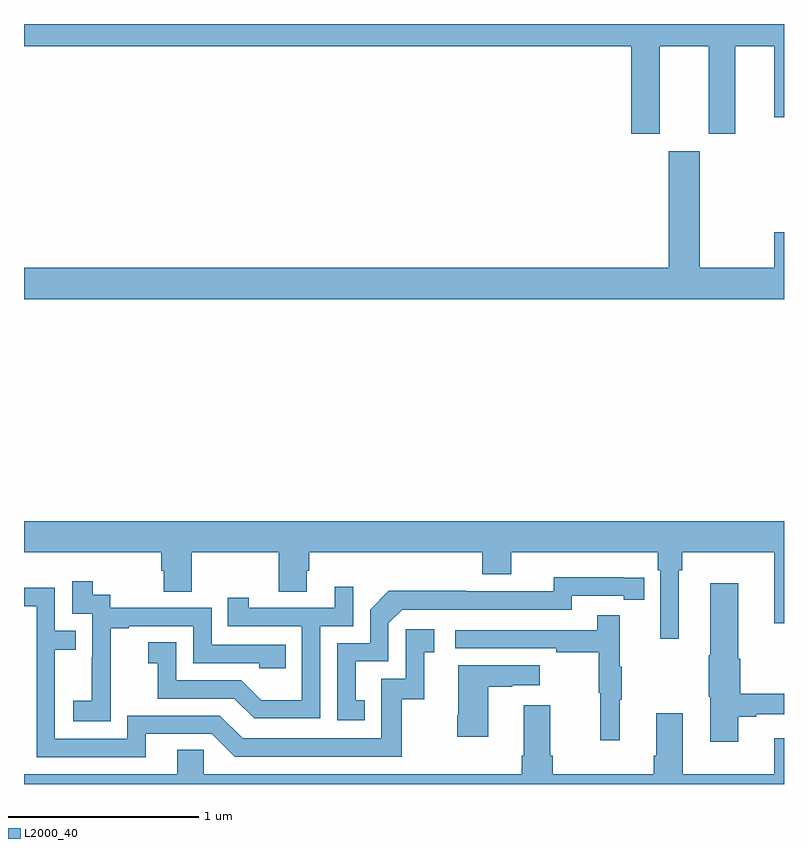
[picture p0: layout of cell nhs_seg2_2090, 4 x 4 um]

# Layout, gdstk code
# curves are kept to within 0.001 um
import gdstk
lib = gdstk.Library(unit=1e-6, precision=1e-09)
def P(c, l, *ps):  # polygons
    for p in ps: c.add(gdstk.Polygon(p, *l))
L2000_40 = (2000, 40)

nhs_seg2_2090 = lib.new_cell('nhs_seg2_2090')
P(nhs_seg2_2090, L2000_40, [(224.347,599.684),(224.603,599.684),(224.603,599.223),(224.743,599.223),(224.743,599.684),(224.948,599.684),(224.948,599.31),(225,599.31),(225,599.8),(221,599.8),(221,599.684),(224.195,599.684),(224.195,599.223),(224.347,599.223)],
  [(225,598.705),(224.948,598.705),(224.948,598.516),(224.557,598.516),(224.557,599.131),(224.393,599.131),(224.393,598.516),(221,598.516),(221,598.352),(225,598.352)],
  [(224.446,596.924),(224.465,596.924),(224.465,597.02),(224.948,597.02),(224.948,596.646),(225,596.646),(225,597.184),(221,597.184),(221,597.02),(221.723,597.02),(221.723,596.922),(221.735,596.922),(221.735,596.812),(221.883,596.812),(221.883,597.02),(222.34,597.02),(222.34,596.812),(222.487,596.812),(222.487,596.922),(222.5,596.922),(222.5,597.02),(223.412,597.02),(223.412,596.903),(223.564,596.903),(223.564,597.02),(224.336,597.02),(224.336,596.924),(224.349,596.924),(224.349,596.565),(224.446,596.565)],
  [(222.794,596.241),(222.745,596.241),(222.745,596.445),(222.918,596.445),(222.918,596.646),(222.99,596.718),(223.884,596.718),(223.884,596.79),(224.156,596.79),(224.156,596.77),(224.264,596.77),(224.264,596.886),(223.788,596.887),(223.788,596.814),(223.328,596.814),(223.328,596.816),(222.92,596.816),(222.822,596.718),(222.822,596.541),(222.648,596.541),(222.648,596.136),(222.794,596.136)],
  [(221.457,596.335),(221.456,596.335),(221.456,596.619),(221.551,596.619),(221.551,596.631),(221.892,596.631),(221.892,596.436),(222.237,596.436),(222.237,596.409),(222.377,596.409),(222.377,596.532),(221.988,596.532),(221.988,596.727),(221.454,596.727),(221.454,596.796),(221.362,596.796),(221.362,596.866),(221.253,596.866),(221.253,596.697),(221.358,596.697),(221.358,596.468),(221.357,596.468),(221.357,596.239),(221.259,596.239),(221.259,596.129),(221.457,596.129)],
  [(224.758,596.154),(224.854,596.154),(224.854,596.166),(225,596.166),(225,596.275),(224.771,596.275),(224.771,596.459),(224.758,596.459),(224.758,596.857),(224.612,596.857),(224.612,596.477),(224.605,596.477),(224.605,596.259),(224.612,596.259),(224.612,596.022),(224.758,596.022)],
  [(222.558,596.631),(222.732,596.631),(222.732,596.839),(222.635,596.839),(222.635,596.727),(222.184,596.727),(222.184,596.779),(222.073,596.779),(222.073,596.631),(222.462,596.631),(222.462,596.242),(222.248,596.242),(222.144,596.346),(221.802,596.346),(221.802,596.545),(221.655,596.545),(221.655,596.435),(221.704,596.435),(221.704,596.25),(222.107,596.25),(222.212,596.145),(222.558,596.145)],
  [(221.641,596.064),(221.988,596.064),(222.108,595.944),(222.988,595.944),(222.988,596.247),(223.106,596.247),(223.106,596.493),(223.159,596.493),(223.159,596.614),(223.008,596.614),(223.008,596.355),(222.879,596.355),(222.879,596.04),(222.15,596.04),(222.03,596.16),(221.544,596.16),(221.544,596.037),(221.163,596.037),(221.163,596.506),(221.273,596.506),(221.273,596.607),(221.163,596.607),(221.163,596.832),(221,596.832),(221,596.736),(221.067,596.736),(221.067,595.941),(221.641,595.941)],
  [(224.135,596.243),(224.146,596.243),(224.146,596.417),(224.135,596.417),(224.135,596.689),(224.017,596.689),(224.017,596.61),(223.269,596.61),(223.269,596.514),(223.801,596.514),(223.801,596.494),(224.025,596.494),(224.025,596.28),(224.032,596.28),(224.032,596.031),(224.135,596.031)],
  [(223.444,596.311),(223.571,596.311),(223.571,596.321),(223.714,596.321),(223.714,596.425),(223.286,596.425),(223.286,596.161),(223.279,596.161),(223.279,596.049),(223.444,596.049)],
  [(225,596.041),(224.948,596.041),(224.948,595.852),(224.467,595.852),(224.467,596.173),(224.327,596.173),(224.327,595.948),(224.315,595.948),(224.315,595.852),(223.784,595.852),(223.784,595.948),(223.771,595.948),(223.771,596.215),(223.631,596.215),(223.631,595.948),(223.619,595.948),(223.619,595.852),(221.946,595.852),(221.946,595.979),(221.807,595.979),(221.807,595.852),(221,595.852),(221,595.8),(225,595.8)])

lib.write_gds('nhs_seg2_2090.gds')
